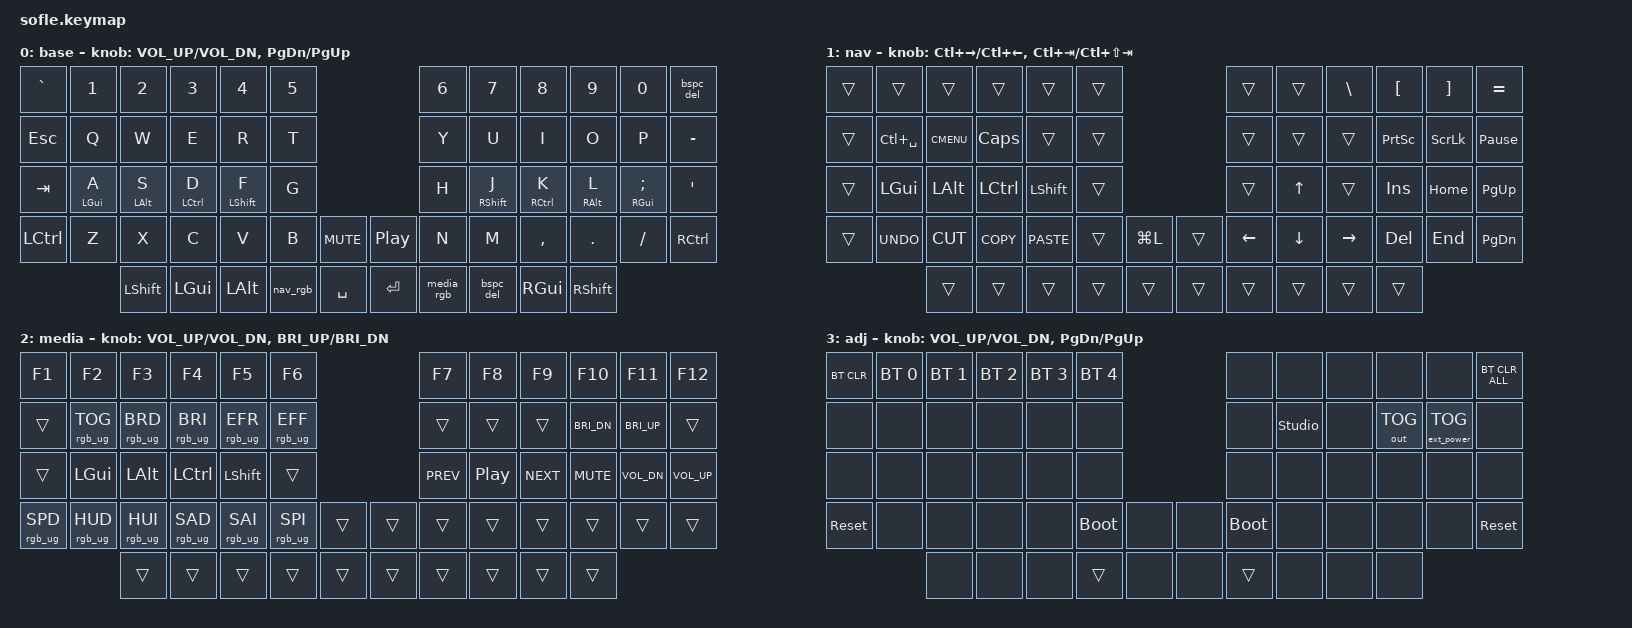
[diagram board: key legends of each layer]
/*
 * Sofle MX 58 — a TKL in two halves.
 *
 * The guiding rule is that the base layer should be the TKL you already know:
 * unshifted QWERTY where a TKL has it, the same bottom-row modifier order, and
 * the nav cluster on NAV in the same 3-wide block, same relative positions.
 * Departures from that are only where 6 columns per half physically cannot
 * hold what a TKL holds, and each one is called out below.
 *
 * Reference points from the rest of this repo:
 *   nvim leader   = <Space>          -> Space is a thumb, unmodified
 *   tmux prefix   = Ctrl+b           -> herdr uses the same prefix. NOT a
 *                                      home-row-Ctrl chord: b is a LEFT-half
 *                                      key, so the cross-hand guard refuses
 *                                      the left Ctrl and it types "db". Use
 *                                      the right half's RCTRL, or the real
 *                                      LCTRL on the bottom row.
 *   Ctrl+hjkl     = nvim window nav  -> home-row Ctrl + base-layer hjkl
 *   Alt+hjkl      = pane/split nav   -> home-row Alt  + base-layer hjkl.
 *                                      One chord for nvim splits AND tmux
 *                                      panes: tmux forwards it into nvim
 *                                      and takes over at the edge split.
 *   jk            = Esc              -> hardware combo, works shell-wide
 *
 * KEY POSITIONS (index into the bindings array, used by the HRM guards)
 *
 *   0  1  2  3  4  5                        6  7  8  9 10 11
 *  12 13 14 15 16 17                       18 19 20 21 22 23
 *  24 25 26 27 28 29                       30 31 32 33 34 35
 *  36 37 38 39 40 41  42              43   44 45 46 47 48 49
 *        50 51 52 53 54              55 56 57 58 59
 *
 *  42/43 are the encoder push-buttons. 50-59 are the thumbs.
 */

#include <behaviors.dtsi>
#include <dt-bindings/zmk/keys.h>
#include <dt-bindings/zmk/bt.h>
#include <dt-bindings/zmk/outputs.h>
#include <dt-bindings/zmk/rgb.h>
#include <dt-bindings/zmk/ext_power.h>

/* Per-key LED chain length, per half.
 *
 * The stock shield overlay says 36 and calls it "arbitrary". It is not: a
 * fully populated Sofle RGB is 29 per-key + 6 rear-facing underglow + 1
 * front-facing indicator = 36. This build has the per-key LEDs only, so 29.
 *
 * Too low and the far end of the chain stays dark; too high and the gradient
 * effects (spectrum, swirl) compress into the LEDs that do exist. To check:
 * pick the spectrum effect and see whether the sweep reaches the last key.
 */
&led_strip { chain-length = <29>; };

#define BASE  0
#define NAV   1
#define MEDIA 2
#define ADJ   3

/* Cross-hand guards. A home-row mod may only resolve as a hold if the next
 * key comes from the OTHER hand (thumbs count as either). Without this,
 * rolling a same-hand pair like "sd" or "df" at speed fires Alt/Ctrl instead
 * of typing letters — which is the single reason most people give up on
 * home-row mods. */
#define RIGHT_SIDE  6  7  8  9 10 11 18 19 20 21 22 23 30 31 32 33 34 35 43 44 45 46 47 48 49
#define LEFT_SIDE   0  1  2  3  4  5 12 13 14 15 16 17 24 25 26 27 28 29 36 37 38 39 40 41 42
#define THUMBS     50 51 52 53 54 55 56 57 58 59

/ {
    behaviors {
        /* Home-row mods, GACS: GUI / Alt / Ctrl / Shift going inward, so the
         * strongest fingers carry Ctrl and Shift.
         *
         * flavor "balanced"      — hold wins only if another key is pressed
         *                          AND released inside the term, so a slow
         *                          deliberate letter still types.
         * require-prior-idle-ms  — a mod cannot trigger mid-burst; 150ms of
         *                          quiet is the price of a hold. This is the
         *                          other half of the anti-misfire story.
         * hold-trigger-on-release — lets you stack mods (Ctrl+Shift+key)
         *                          instead of the first one resolving early.
         * quick-tap-ms           — tap-then-hold repeats the letter, so held
         *                          `j` in nvim still scrolls.
         */
        hml: homerow_mod_left {
            compatible = "zmk,behavior-hold-tap";
            #binding-cells = <2>;
            flavor = "balanced";
            tapping-term-ms = <200>;
            quick-tap-ms = <175>;
            require-prior-idle-ms = <150>;
            bindings = <&kp>, <&kp>;
            hold-trigger-key-positions = <RIGHT_SIDE THUMBS>;
            hold-trigger-on-release;
        };

        hmr: homerow_mod_right {
            compatible = "zmk,behavior-hold-tap";
            #binding-cells = <2>;
            flavor = "balanced";
            tapping-term-ms = <200>;
            quick-tap-ms = <175>;
            require-prior-idle-ms = <150>;
            bindings = <&kp>, <&kp>;
            hold-trigger-key-positions = <LEFT_SIDE THUMBS>;
            hold-trigger-on-release;
        };

        /* There is deliberately NO mod-tap on the bottom-right corner any
         * more -- it is a plain &kp RCTRL. `]` was its tap half until the TKL
         * keys came back to base and `]` moved to the `/`+corner combo. With
         * no tap half there is nothing for a hold-tap to arbitrate, and
         * dropping it takes the tapping-term latency off a modifier.
         *
         * If a symbol ever wants to live there again, do NOT reach for stock
         * &mt: its hold-preferred flavor turns a lingered tap into the
         * modifier, so a leisurely `]` comes out as Ctrl and swallows the
         * next keystroke. tap-preferred plus a quick-tap-ms (so `]]` repeats
         * instead of arming the mod) is the shape that works. */

        /* Backspace, or Delete when a Shift is held. Delete is the only thing
         * regularly wanted in the other direction, and it is not worth its
         * own key on a 58-key board -- keep-mods means Shift+Delete still
         * reaches the applications that want it. */
        bspc_del: backspace_delete {
            compatible = "zmk,behavior-mod-morph";
            #binding-cells = <0>;
            bindings = <&kp BSPC>, <&kp DEL>;
            mods = <(MOD_LSFT|MOD_RSFT)>;
            keep-mods = <(MOD_LSFT|MOD_RSFT)>;
        };
    };

    macros {
        /* Layer colour. ZMK has no per-key addressing and no "layer entered"
         * hook in the keymap, so a layer indicator can only be the WHOLE
         * board changing colour, driven by the same key that activates the
         * layer. Hence a macro instead of a bare &mo.
         *
         * Only visible on the SOLID effect -- spectrum and swirl paint their
         * own colours over this. And ADJ gets no colour of its own: it is a
         * conditional layer with no key to hang a macro on, so holding both
         * shows whichever of the two you pressed second.
         *
         * Hues are the repo's catppuccin accents, so the board matches the
         * editor: base blue, nav green, media mauve.
         */
        nav_rgb: nav_with_colour {
            compatible = "zmk,behavior-macro";
            #binding-cells = <0>;
            bindings
                = <&macro_press &mo NAV>
                , <&macro_tap &rgb_ug RGB_COLOR_HSB(115,55,40)>
                , <&macro_pause_for_release>
                , <&macro_release &mo NAV>
                , <&macro_tap &rgb_ug RGB_COLOR_HSB(217,70,40)>;
        };

        media_rgb: media_with_colour {
            compatible = "zmk,behavior-macro";
            #binding-cells = <0>;
            bindings
                = <&macro_press &mo MEDIA>
                , <&macro_tap &rgb_ug RGB_COLOR_HSB(267,60,40)>
                , <&macro_pause_for_release>
                , <&macro_release &mo MEDIA>
                , <&macro_tap &rgb_ug RGB_COLOR_HSB(217,70,40)>;
        };
    };

    combos {
        compatible = "zmk,combos";

        /* j+k -> Esc, at the hardware level rather than as an nvim mapping,
         * so it also escapes in nvim-bash vi mode, in a bare `vi` on a box
         * you don't control, and in any TUI that wants Esc. (Esc is also on
         * its own key at the TKL position, top-left — this is the fast one.)
         *
         * 45ms is deliberately tighter than the default: "jk" as a real
         * letter pair is vanishingly rare in English, but a roll through j
         * and k while typing fast is not, and require-prior-idle-ms keeps it
         * from firing mid-word at all. */
        /* Bootloader escape hatches, reachable with the NAV thumb only.
         *
         * ADJ is NAV + MEDIA -- thumbs on OPPOSITE halves -- so every ADJ
         * binding, including the two &bootloader keys, needs the halves
         * paired. That is precisely the state you cannot count on when you
         * need a bootloader, and on a board whose reset button is inside the
         * case it is the difference between reflashing and being stuck.
         *
         * combo_boot_left uses positions 0 and 5 -- the two ends of the left
         * half's number row -- plus the NAV thumb, which is also left. All
         * three are local to the central, so this works with the right half
         * flat, unpaired, or running different firmware.
         *
         * combo_boot_right is the same gesture on the right half's number
         * row. It still needs the halves paired, because a ZMK peripheral
         * never runs the keymap -- it only forwards key positions to the
         * central -- so there is no such thing as a peripheral rescuing
         * itself with a keypress. Nothing to be done about that.
         *
         * Both are two-handed-hard on purpose: opposite ends of a row, on a
         * held layer, with a 50ms window. You will not hit either by accident.
         */
        combo_boot_left {
            bindings = <&bootloader>;
            key-positions = <0 5>;
            timeout-ms = <50>;
            layers = <NAV>;
        };

        combo_boot_right {
            bindings = <&bootloader>;
            key-positions = <6 11>;
            timeout-ms = <50>;
            layers = <NAV>;
        };

        /* Both Shift keys together -> caps word.
         *
         * This is the SystemVerilog key. UVM_INFO, SCREAMING_PARAMS, enum
         * values and macro names are most of what gets typed in this repo,
         * and caps-word's continue-list already carries UNDERSCORE -- so the
         * whole identifier types in one gesture and ends itself at the space,
         * with no Caps Lock left on afterwards.
         *
         * Cross-half, so it needs both halves paired. That is fine: unlike
         * the bootloader combos, nothing about this one is a rescue. */
        combo_caps_word {
            bindings = <&caps_word>;
            key-positions = <50 59>;
            timeout-ms = <50>;
            layers = <BASE>;
        };

        /* `,` + `.` -> backslash. Regex (\v, \zs -- see the vim log
         * highlighting) and localleader, on base, for no key at all. The pair
         * is meaningless pressed together in vim and vanishingly rare in
         * prose, and require-prior-idle keeps it from firing mid-word. */
        combo_bslh {
            bindings = <&kp BSLH>;
            key-positions = <46 47>;
            timeout-ms = <45>;
            require-prior-idle-ms = <100>;
            layers = <BASE>;
        };

        combo_esc {
            bindings = <&kp ESC>;
            key-positions = <31 32>;
            timeout-ms = <45>;
            require-prior-idle-ms = <100>;
            layers = <BASE>;
        };

        /* The TKL right-side symbols, as chords rather than keys.
         *
         * Six columns per half cannot hold `[ ] \ = ` on top of QWERTY, and
         * the previous answer -- exile them to NAV, keep `[`/`]` as real base
         * keys -- cost the top-right Backspace, which is the single strongest
         * piece of TKL muscle memory there is. These chords buy that key back
         * without pushing anything behind a held layer.
         *
         * NOTE THE MISSING require-prior-idle-ms. Every other combo here has
         * it, because `,.`, `jk` and `qw` are sequences you really do type and
         * the guard is what stops a fast roll firing them. These three are the
         * opposite case: `;'`, `/]` and `l;` are pairs that essentially never
         * occur, so the guard buys almost nothing -- and it would cost a great
         * deal, because it makes a combo REFUSE to fire mid-burst. This nvim
         * config has ~20 `[x`/`]x` mappings; walking a list with `]d]d]d`
         * means firing the same combo three times in a second, and with the
         * guard on, every repeat after the first would silently do nothing.
         * Same for `==`, `<=` and `!=`, which is most lines of RTL.
         *
         * The one real exposure is `l;` in combo_equal: a single-letter
         * variable `l` followed by a semicolon. Rare enough to accept, and the
         * pair to change first if `=` ever appears where it should not.
         *
         * `[`/`]` also stay on NAV+9 / NAV+0 as a fallback. */
        combo_lbkt {
            bindings = <&kp LBKT>;      /* [ and, with Shift, { */
            key-positions = <34 35>;    /* ; + ' */
            timeout-ms = <45>;
            layers = <BASE>;
        };
        combo_rbkt {
            bindings = <&kp RBKT>;      /* ] and, with Shift, } */
            key-positions = <48 49>;    /* / + the RCTRL corner */
            timeout-ms = <45>;
            layers = <BASE>;
        };
        combo_equal {
            bindings = <&kp EQUAL>;     /* = and, with Shift, + */
            key-positions = <33 34>;    /* L + ; */
            timeout-ms = <45>;
            layers = <BASE>;
        };
    };

    /* NAV + MEDIA held together = ADJ. Nothing on ADJ is a typing key, so it
     * costs no base-layer real estate to reach radios and bootloader. */
    conditional_layers {
        compatible = "zmk,conditional-layers";
        adjust_layer {
            if-layers = <NAV MEDIA>;
            then-layer = <ADJ>;
        };
    };

    keymap {
        compatible = "zmk,keymap";

        base_layer {
            display-name = "base";
// Unshifted QWERTY, TKL positions throughout. Shift gives the usual second
// legend on every key (` ~, 1 !, , <, . >, / ?, ; :, ' ", [ {, ] }).
//
// TKL's right-side overflow (`[ ] \` after P, `=` after `-`) does not fit as a
// block, so it is split by how often it is actually typed rather than moved
// wholesale to NAV. `[` and `]` earn base keys: this repo's nvim config has
// twenty `[x`/`]x` mappings (]d [d ]h [h ]t [t ]q [q ]i [i ]o [o ...), and
// Shift on top of them gives `{` and `}`, which are paragraph motions. A
// navigation prefix behind a held layer is the one thing you cannot afford.
// `\` and `=` are rarer and stay on NAV (`=` under `-`, where a TKL has it);
// `\` also has a `,`+`.` combo. NAV keeps `[` and `]` too -- costs nothing,
// and it is the fallback while the fingers relearn.
//
// `[` takes the BSPC slot, which is its TKL position (right after P), and
// Backspace moves to the right thumb. `]` takes the bottom-right corner.
//
// THE CORNERS ARE CTRL, NOT SHIFT. Home-row Ctrl lives on D behind a
// cross-hand guard, so it can only ever fire with a RIGHT-hand key -- which
// makes every left-hand Ctrl chord physically impossible: <C-d> <C-u> scroll,
// <C-w> windows, <C-r> redo, <C-v> blockwise, <C-a>/<C-x> increment,
// <C-e>/<C-y>, and the Ctrl+b prefix above. A guard-free LCTRL on the bottom
// row is the missing half of the home-row-mod story, not a luxury. Shift
// moves down one row onto the outer thumb keys, which is also where a real
// Shift is still wanted: require-prior-idle-ms means the home-row one refuses
// to fire mid-burst, so capitals typed at speed need a plain key.
//
// The right corner is a plain RCTRL. It carried `]` as a mod-tap's tap half
// until the TKL keys came back to base and `]` became the `/`+corner combo;
// with no tap half there is nothing to arbitrate, and dropping the hold-tap
// takes its tapping-term latency off a modifier. A right Ctrl is only ever
// needed for Ctrl + a left-hand key while the left hand is already busy.
//
// The two inner keys by the encoders are the ENCODER PUSH-BUTTONS, not normal
// keys: awkward to hit deliberately, easy to hit while turning the knob. They
// get things that are harmless to fire by accident and that pair with the
// knob beside them -- mute next to the volume knob, play/pause next to the
// other. Never put a typing key here.
//
// Space is on the LEFT inner thumb and Enter on the right. Space is the nvim
// leader and the most-pressed key on the board; Enter is not, and the two
// were swapped so the busier one sits under the stronger thumb.
// ---------------------------------------------------------------------------------------------------------------
// |  ` ~ | 1 ! | 2 @ | 3 # | 4 $ | 5 % |               | 6 ^ | 7 & | 8 * | 9 ( | 0 ) | BSPC  |
// |  ESC |  Q  |  W  |  E  |  R  |  T  |               |  Y  |  U  |  I  |  O  |  P  |  - _  |
// |  TAB |  A  |  S  |  D  |  F  |  G  |               |  H  |  J  |  K  |  L  | ; : |  ' "  |
// | CTRL |  Z  |  X  |  C  |  V  |  B  | MUTE| |PLAY |  N  |  M  | , < | . > | / ? | CTRL |
//              | SHFT| GUI | ALT | NAV | SPC | | ENT  |MEDIA|BSPC | GUI | SHFT|
//                      home row: GUI ALT CTL SFT           SFT CTL ALT GUI
//                      thumb BSPC: Shift+it is Delete
            bindings = <
&kp GRAVE &kp N1       &kp N2       &kp N3        &kp N4        &kp N5                              &kp N6    &kp N7        &kp N8        &kp N9       &kp N0          &bspc_del
&kp ESC   &kp Q        &kp W        &kp E         &kp R         &kp T                               &kp Y     &kp U         &kp I         &kp O        &kp P           &kp MINUS
&kp TAB   &hml LGUI A  &hml LALT S  &hml LCTRL D  &hml LSHFT F  &kp G                               &kp H     &hmr RSHFT J  &hmr RCTRL K  &hmr RALT L  &hmr RGUI SEMI  &kp SQT
&kp LCTRL &kp Z        &kp X        &kp C         &kp V         &kp B      &kp C_MUTE   &kp C_PP    &kp N     &kp M         &kp COMMA     &kp DOT      &kp FSLH        &kp RCTRL
                       &kp LSHFT    &kp LGUI      &kp LALT      &nav_rgb   &kp SPACE    &kp RET     &media_rgb &bspc_del     &kp RGUI      &kp RSHFT
            >;
            /* left knob: volume     right knob: page scroll */
            sensor-bindings = <&inc_dec_kp C_VOL_UP C_VOL_DN &inc_dec_kp PG_DN PG_UP>;
        };

        nav_layer {
            display-name = "nav";
// The TKL nav island, kept as an island. PrtSc/ScrLk/Pause over Ins/Home/PgUp
// over Del/End/PgDn, three wide, in the three rightmost columns — same shape
// and same relative positions as the block to the right of a TKL's main
// block, so PgUp sits directly above PgDn in the outermost column.
//
// TKL's right-side overflow lives on the number row here, under the digits it
// neighbours on a TKL. Shift composes normally: NAV+Shift+9 is `{`. `\` and
// `=` are only here; `[` and `]` are also on base now (see the base layer),
// and are kept here as a fallback because the slots cost nothing.
//
// Arrows are the TKL inverted-T, not hjkl: on the base layer hjkl are already
// hjkl for vim, and this layer's arrows are for everything that ISN'T vim —
// browsers, dialogs, spreadsheets — which is exactly where the TKL shape is
// the one in your fingers.
//
// Left hand mirrors the home-row mods as plain mods, so Ctrl+Shift+Left and
// friends work without leaving the layer.
// ---------------------------------------------------------------------------------------------------------------
// |      |      |      |      |      |      |             |      |      |  \ |  |  [ { |  ] } | = + |
// |      | tmux | MENU | CAPS |      |      |             |      |      |      | PSCR | SLCK |PAUSE|
// |      | GUI  | ALT  | CTRL | SHFT |      |             |      |  UP  |      | INS  | HOME |PG UP|
// |      | UNDO | CUT  | COPY | PASTE|      |WIN+L|  |    | LEFT | DOWN | RIGHT| DEL  | END  |PG DN|
//               |      |      |      |      |    |  |     |      |      |      |      |
            bindings = <
&trans  &trans        &trans       &trans     &trans      &trans                        &trans     &trans     &kp BSLH    &kp LBKT  &kp RBKT   &kp EQUAL
&trans  &kp LC(SPACE) &kp K_CMENU  &kp CAPS   &trans      &trans                        &trans     &trans     &trans      &kp PSCRN &kp SLCK   &kp PAUSE_BREAK
&trans  &kp LGUI      &kp LALT     &kp LCTRL  &kp LSHFT   &trans                        &trans     &kp UP     &trans      &kp INS   &kp HOME   &kp PG_UP
&trans  &kp K_UNDO    &kp K_CUT    &kp K_COPY &kp K_PASTE &trans   &kp LG(L) &trans     &kp LEFT   &kp DOWN   &kp RIGHT   &kp DEL   &kp END    &kp PG_DN
                      &trans       &trans     &trans      &trans   &trans    &trans     &trans     &trans     &trans      &trans
            >;
            /* left knob: word-wise cursor    right knob: cycle tabs */
            sensor-bindings = <&inc_dec_kp LC(RIGHT) LC(LEFT) &inc_dec_kp LC(TAB) LC(LS(TAB))>;
        };

        media_layer {
            display-name = "media";
// F1-F12 straight across the number row, in the same order and the same place
// as a TKL's function row sits above its number row — so F5 and F12 are where
// your hand already goes.
//
// Transport and volume sit on the right home row, one-handed: the fingers that
// rest on HJKL get prev/play/next, and mute/vol-down/vol-up follow on the same
// row. Brightness is the row above.
// ---------------------------------------------------------------------------------------------------------------
// |  F1  |  F2  |  F3  |  F4  |  F5  |  F6  |             |  F7  |  F8  |  F9  | F10  | F11  | F12  |
// |      |RGBtog|RGBdim|RGBbrt|EFF - |EFF + |             |      |      |      | BRI- | BRI+ |      |
// |      | GUI  | ALT  | CTRL | SHFT |      |             | PREV | PLAY | NEXT | MUTE | VOL- | VOL+ |
// |SPD - |HUE - |HUE + |SAT - |SAT + |SPD + |    |  |     |      |      |      |      |      |      |
//               |      |      |      |      |    |  |     |      |      |      |      |
            bindings = <
&kp F1  &kp F2    &kp F3    &kp F4     &kp F5     &kp F6                          &kp F7      &kp F8    &kp F9      &kp F10     &kp F11       &kp F12
&trans           &rgb_ug RGB_TOG &rgb_ug RGB_BRD &rgb_ug RGB_BRI &rgb_ug RGB_EFR &rgb_ug RGB_EFF          &trans      &trans    &trans      &kp C_BRI_DN &kp C_BRI_UP &trans
&trans           &kp LGUI        &kp LALT        &kp LCTRL       &kp LSHFT       &trans                   &kp C_PREV  &kp C_PP  &kp C_NEXT  &kp C_MUTE  &kp C_VOL_DN  &kp C_VOL_UP
&rgb_ug RGB_SPD  &rgb_ug RGB_HUD &rgb_ug RGB_HUI &rgb_ug RGB_SAD &rgb_ug RGB_SAI &rgb_ug RGB_SPI  &trans    &trans   &trans      &trans    &trans      &trans      &trans        &trans
                  &trans    &trans     &trans     &trans   &trans    &trans       &trans      &trans    &trans      &trans
            >;
            /* left knob: volume    right knob: screen brightness */
            sensor-bindings = <&inc_dec_kp C_VOL_UP C_VOL_DN &inc_dec_kp C_BRI_UP C_BRI_DN>;
        };

        adj_layer {
            display-name = "adj";
// Radios, bootloader, the ZMK Studio unlock, and the external power rail.
// `&studio_unlock` sits on U ("unlock") — Studio refuses every edit until it
// is pressed, and it is deliberately three keys deep so it cannot be hit by
// accident.
//
// EPTOG (`&ext_power EP_TOG`) toggles the nice!nano's P0.13 rail, which feeds
// BOTH the per-key LEDs and the OLED. It is here because that rail's state is
// saved to flash and, per ZMK's own docs, "persists across restarts and
// firmware flashes" — so a board that ever cut it (which every build before
// this one did on idle, see CONFIG_ZMK_RGB_UNDERGLOW_EXT_POWER in sofle.conf)
// comes up with dark OLEDs no matter what you flash, and needs one press of
// this to come back. Nothing turns the rail off on its own any more, so this
// is a one-time repair key and a manual "kill the LED rail" switch, not
// something the firmware drives.
// ---------------------------------------------------------------------------------------------------------------
// | BTCLR | BT1 | BT2 | BT3 | BT4 | BT5 |            |     |UNLOCK|     | OUT |EPTOG| BTCLRALL |
// ---------------------------------------------------------------------------------------------------------------
            bindings = <
&bt BT_CLR  &bt BT_SEL 0  &bt BT_SEL 1  &bt BT_SEL 2  &bt BT_SEL 3  &bt BT_SEL 4                     &none  &none           &none  &none        &none  &bt BT_CLR_ALL
&none       &none         &none         &none         &none         &none                            &none  &studio_unlock  &none  &out OUT_TOG &ext_power EP_TOG  &none
&none       &none         &none         &none         &none         &none                            &none  &none           &none  &none        &none  &none
&sys_reset  &none         &none         &none         &none         &bootloader  &none     &none     &bootloader &none      &none  &none        &none  &sys_reset
                          &none         &none         &none         &trans       &none     &none     &trans      &none      &none  &none
            >;
            sensor-bindings = <&inc_dec_kp C_VOL_UP C_VOL_DN &inc_dec_kp PG_DN PG_UP>;
        };

        /* Empty slots that exist only so ZMK Studio has somewhere to put a
         * new layer. Studio cannot create layers that devicetree did not
         * declare, and adding one later means a reflash — which is exactly
         * the thing Studio is supposed to save you. Cost is a few bytes. */
        extra1 { status = "reserved"; };
        extra2 { status = "reserved"; };
    };
};
